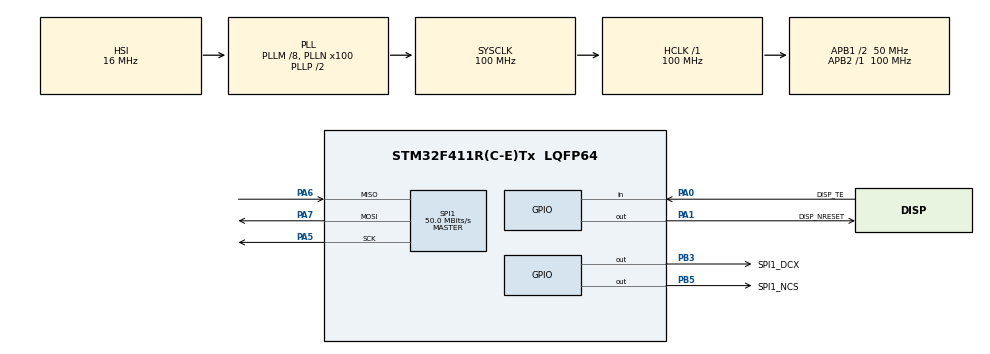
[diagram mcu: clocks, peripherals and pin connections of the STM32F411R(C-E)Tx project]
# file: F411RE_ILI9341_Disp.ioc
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Mcu.Family=STM32F4
Mcu.Name=STM32F411R(C-E)Tx
Mcu.Package=LQFP64
NVIC.PriorityGroup=NVIC_PRIORITYGROUP_0
NVIC.TIM1_UP_TIM10_IRQn=true\:0\:0\:false\:false\:true\:false\:true
NVIC.TimeBase=TIM1_UP_TIM10_IRQn
NVIC.TimeBaseIP=TIM1
PA0-WKUP.GPIO_Label=DISP_TE
PA0-WKUP.Signal=GPIO_Input
PA1.GPIO_Label=DISP_NRESET
PA1.Signal=GPIO_Output
PA13.Mode=Serial_Wire
PA13.Signal=SYS_JTMS-SWDIO
PA14.Mode=Serial_Wire
PA14.Signal=SYS_JTCK-SWCLK
PA5.Mode=Full_Duplex_Master
PA5.Signal=SPI1_SCK
PA6.Mode=Full_Duplex_Master
PA6.Signal=SPI1_MISO
PA7.Mode=Full_Duplex_Master
PA7.Signal=SPI1_MOSI
PB3.GPIO_Label=SPI1_DCX
PB3.Signal=GPIO_Output
PB5.GPIO_Label=SPI1_NCS
PB5.Signal=GPIO_Output
PC14-OSC32_IN.Mode=LSE-External-Oscillator
PC14-OSC32_IN.Signal=RCC_OSC32_IN
PC15-OSC32_OUT.Mode=LSE-External-Oscillator
PC15-OSC32_OUT.Signal=RCC_OSC32_OUT
PH0\ -\ OSC_IN.Mode=HSE-External-Clock-Source
PH0\ -\ OSC_IN.Signal=RCC_OSC_IN
PH1\ -\ OSC_OUT.Mode=HSE-External-Clock-Source
PH1\ -\ OSC_OUT.Signal=RCC_OSC_OUT
ProjectManager.HeapSize=0x200
ProjectManager.StackSize=0x400
ProjectManager.TargetToolchain=STM32CubeIDE
RCC.48MHZClocksFreq_Value=50000000
RCC.AHBFreq_Value=100000000
RCC.APB1CLKDivider=RCC_HCLK_DIV2
RCC.APB1Freq_Value=50000000
RCC.APB1TimFreq_Value=100000000
RCC.APB2Freq_Value=100000000
RCC.APB2TimFreq_Value=100000000
RCC.CortexFreq_Value=100000000
RCC.FLatency-AdvancedSettings=FLASH_LATENCY_3
RCC.HCLKFreq_Value=100000000
RCC.HSE_VALUE=8000000
RCC.HSI_VALUE=16000000
RCC.PLLM=8
RCC.PLLN=100
RCC.SYSCLKFreq_VALUE=100000000
RCC.SYSCLKSource=RCC_SYSCLKSOURCE_PLLCLK
RCC.VCOOutputFreq_Value=200000000
SPI1.BaudRatePrescaler=SPI_BAUDRATEPRESCALER_2
SPI1.CalculateBaudRate=50.0 MBits/s
SPI1.Direction=SPI_DIRECTION_2LINES
SPI1.Mode=SPI_MODE_MASTER
SPI1.VirtualType=VM_MASTER
VP_SYS_VS_tim1.Mode=TIM1
board=NUCLEO-F411RE

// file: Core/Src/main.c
/* USER CODE BEGIN Header */
/**
  ******************************************************************************
  * @file           : main.c
  * @brief          : Main program body
  ******************************************************************************
  * @attention
  *
  * <h2><center>&copy; Copyright (c) 2021 STMicroelectronics.
  * All rights reserved.</center></h2>
  *
  * This software component is licensed by ST under BSD 3-Clause license,
  * the "License"; You may not use this file except in compliance with the
  * License. You may obtain a copy of the License at:
  *                        opensource.org/licenses/BSD-3-Clause
  *
  ******************************************************************************
  */
/* USER CODE END Header */
#include "main.h"
#include "graphic.h"
#include "ILI9341_Disp.h"
#include "image.h"

SPI_HandleTypeDef hspi1;

void SystemClock_Config(void);
static void MX_GPIO_Init(void);
static void MX_SPI1_Init(void);

int main(void)
{

	/* MCU Configuration--------------------------------------------------------*/

	/* Reset of all peripherals, Initializes the Flash interface and the Systick. */
	HAL_Init();

	/* Configure the system clock */
	SystemClock_Config();

	/* Initialize all configured peripherals */
	MX_GPIO_Init();
	MX_SPI1_Init();
	/* USER CODE BEGIN 2 */
	ILI9341_Init(&hspi1);
	ILI9341_Fill_Screen(PURPLE);
	HAL_Delay(1000);
	ILI9341_Fill_Screen(WHITE);
	HAL_Delay(1000);
	ILI9341_Draw_Rectangle(50, 50, 150, 150, BLACK);
	HAL_Delay(2000);
	ILI9341_Fill_Screen(WHITE);
	ILI9341_Set_Rotation(SCREEN_HORIZONTAL_2);
	Graphic_Draw_Text("RGB Picture", 10, 10, BLACK, 1, WHITE);
	Graphic_Draw_Text("TIGER", 10, 20, BLACK, 1, WHITE);
	HAL_Delay(2000);
	Graphic_Draw_Image(&hspi1, (const char*) image, SCREEN_VERTICAL_2);
	ILI9341_Set_Rotation(SCREEN_VERTICAL_1);
	HAL_Delay(10000);
	/* USER CODE END 2 */

	/* Infinite loop */
	while (1)
	{

	}
}

void SystemClock_Config(void)
{
  RCC_OscInitTypeDef RCC_OscInitStruct = {0};
  RCC_ClkInitTypeDef RCC_ClkInitStruct = {0};

  /** Configure the main internal regulator output voltage
  */
  __HAL_RCC_PWR_CLK_ENABLE();
  __HAL_PWR_VOLTAGESCALING_CONFIG(PWR_REGULATOR_VOLTAGE_SCALE1);
  /** Initializes the RCC Oscillators according to the specified parameters
  * in the RCC_OscInitTypeDef structure.
  */
  RCC_OscInitStruct.OscillatorType = RCC_OSCILLATORTYPE_HSI;
  RCC_OscInitStruct.HSIState = RCC_HSI_ON;
  RCC_OscInitStruct.HSICalibrationValue = RCC_HSICALIBRATION_DEFAULT;
  RCC_OscInitStruct.PLL.PLLState = RCC_PLL_ON;
  RCC_OscInitStruct.PLL.PLLSource = RCC_PLLSOURCE_HSI;
  RCC_OscInitStruct.PLL.PLLM = 8;
  RCC_OscInitStruct.PLL.PLLN = 100;
  RCC_OscInitStruct.PLL.PLLP = RCC_PLLP_DIV2;
  RCC_OscInitStruct.PLL.PLLQ = 4;
  if (HAL_RCC_OscConfig(&RCC_OscInitStruct) != HAL_OK)
  {
    Error_Handler();
  }
  /** Initializes the CPU, AHB and APB buses clocks
  */
  RCC_ClkInitStruct.ClockType = RCC_CLOCKTYPE_HCLK|RCC_CLOCKTYPE_SYSCLK
                              |RCC_CLOCKTYPE_PCLK1|RCC_CLOCKTYPE_PCLK2;
  RCC_ClkInitStruct.SYSCLKSource = RCC_SYSCLKSOURCE_PLLCLK;
  RCC_ClkInitStruct.AHBCLKDivider = RCC_SYSCLK_DIV1;
  RCC_ClkInitStruct.APB1CLKDivider = RCC_HCLK_DIV2;
  RCC_ClkInitStruct.APB2CLKDivider = RCC_HCLK_DIV1;

  if (HAL_RCC_ClockConfig(&RCC_ClkInitStruct, FLASH_LATENCY_3) != HAL_OK)
  {
    Error_Handler();
  }
}

static void MX_SPI1_Init(void)
{

  /* SPI1 parameter configuration*/
  hspi1.Instance = SPI1;
  hspi1.Init.Mode = SPI_MODE_MASTER;
  hspi1.Init.Direction = SPI_DIRECTION_2LINES;
  hspi1.Init.DataSize = SPI_DATASIZE_8BIT;
  hspi1.Init.CLKPolarity = SPI_POLARITY_LOW;
  hspi1.Init.CLKPhase = SPI_PHASE_1EDGE;
  hspi1.Init.NSS = SPI_NSS_SOFT;
  hspi1.Init.BaudRatePrescaler = SPI_BAUDRATEPRESCALER_2;
  hspi1.Init.FirstBit = SPI_FIRSTBIT_MSB;
  hspi1.Init.TIMode = SPI_TIMODE_DISABLE;
  hspi1.Init.CRCCalculation = SPI_CRCCALCULATION_DISABLE;
  hspi1.Init.CRCPolynomial = 10;
  if (HAL_SPI_Init(&hspi1) != HAL_OK)
  {
    Error_Handler();
  }

}

static void MX_GPIO_Init(void)
{
  GPIO_InitTypeDef GPIO_InitStruct = {0};

  /* GPIO Ports Clock Enable */
  __HAL_RCC_GPIOC_CLK_ENABLE();
  __HAL_RCC_GPIOH_CLK_ENABLE();
  __HAL_RCC_GPIOA_CLK_ENABLE();
  __HAL_RCC_GPIOB_CLK_ENABLE();

  /*Configure GPIO pin Output Level */
  HAL_GPIO_WritePin(DISP_NRESET_GPIO_Port, DISP_NRESET_Pin, GPIO_PIN_RESET);

  /*Configure GPIO pin Output Level */
  HAL_GPIO_WritePin(GPIOB, SPI1_DCX_Pin|SPI1_NCS_Pin, GPIO_PIN_RESET);

  /*Configure GPIO pin : DISP_TE_Pin */
  GPIO_InitStruct.Pin = DISP_TE_Pin;
  GPIO_InitStruct.Mode = GPIO_MODE_INPUT;
  GPIO_InitStruct.Pull = GPIO_NOPULL;
  HAL_GPIO_Init(DISP_TE_GPIO_Port, &GPIO_InitStruct);

  /*Configure GPIO pin : DISP_NRESET_Pin */
  GPIO_InitStruct.Pin = DISP_NRESET_Pin;
  GPIO_InitStruct.Mode = GPIO_MODE_OUTPUT_PP;
  GPIO_InitStruct.Pull = GPIO_NOPULL;
  GPIO_InitStruct.Speed = GPIO_SPEED_FREQ_LOW;
  HAL_GPIO_Init(DISP_NRESET_GPIO_Port, &GPIO_InitStruct);

  /*Configure GPIO pins : SPI1_DCX_Pin SPI1_NCS_Pin */
  GPIO_InitStruct.Pin = SPI1_DCX_Pin|SPI1_NCS_Pin;
  GPIO_InitStruct.Mode = GPIO_MODE_OUTPUT_PP;
  GPIO_InitStruct.Pull = GPIO_NOPULL;
  GPIO_InitStruct.Speed = GPIO_SPEED_FREQ_LOW;
  HAL_GPIO_Init(GPIOB, &GPIO_InitStruct);

}

void HAL_TIM_PeriodElapsedCallback(TIM_HandleTypeDef *htim)
{
  if (htim->Instance == TIM1) {
    HAL_IncTick();
  }
}

void Error_Handler(void)
{
  __disable_irq();
  while (1)
  {
  }
}

/************************ (C) COPYRIGHT STMicroelectronics *****END OF FILE****/
